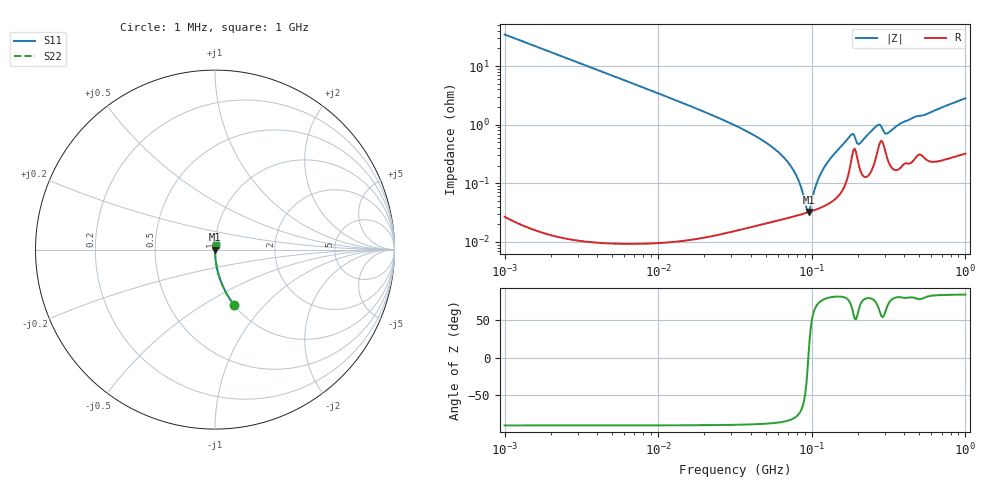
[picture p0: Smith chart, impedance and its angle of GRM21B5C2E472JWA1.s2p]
!Murata Part Number: GRM21B5C2E472JWA1
!These Parameters are Measured in Series Mode Connection
!Data Generated on Mar 30, 2021
!  o--ll--o
!Port1  Port2
!  o------o
!Operation Temp=25[degC], DC Bias Voltage=0[V]
!Freq. Start=1000[kHz] Stop=1000[MHz] 401[Steps]
# Hz S RI R 50
!Freq.(Hz) S11(Real) S11(Imag) S21(Real) S21(Imag) S12(Real) S12(Imag) S22(Real) S22(Imag)
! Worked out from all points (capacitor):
!   401 points, 1 MHz to 1 GHz, reference 50 ohm
!   read as one part in series: C = 4.59 nF near 1.035 MHz
!   lowest |Z| = 32.5 mohm at 95.5 MHz (marker M1)
!   series resonance near 94.95 MHz, so ESL is about 610 pH
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1000000  0.1077 -0.3096  0.8923 0.3096  0.8923 0.3096  0.1077 -0.3096
3180534  0.0118 -0.1077  0.9882 0.1077  0.9882 0.1077  0.0118 -0.1077
1.01158e7  0.00124 -0.0339  0.9988 0.0339  0.9988 0.0339  0.00124 -0.0339
3.162278e7  0.000247 -0.00972  0.9998 0.00972  0.9998 0.00972  0.000247 -0.00972
5.040806e7  0.000231 -0.00493  0.9998 0.00493  0.9998 0.00493  0.000231 -0.00493
6.76083e7  0.000256 -0.00253  0.9997 0.00253  0.9997 0.00253  0.000256 -0.00253
8.035261e7  0.000283 -0.00123  0.9997 0.00123  0.9997 0.00123  0.000283 -0.00123
8.462526e7  0.000293 -0.000849  0.9997 0.000849  0.9997 0.000849  0.000293 -0.000849
9.225714e7  0.000313 -0.000212  0.9997 0.000212  0.9997 0.000212  0.000313 -0.000212
9.549926e7  0.000322 4.31e-05  0.9997 -4.31e-05  0.9997 -4.31e-05  0.000322 4.31e-05
1.005773e8  0.000337 0.000429  0.9997 -0.000429  0.9997 -0.000429  0.000337 0.000429
1.077705e8  0.000361 0.000951  0.9996 -0.000951  0.9996 -0.000951  0.000361 0.000951
1.195364e8  0.000407 0.00176  0.9996 -0.00176  0.9996 -0.00176  0.000407 0.00176
1.778279e8  0.002 0.00615  0.998 -0.00615  0.998 -0.00615  0.002 0.00615
1.840772e8  0.0032 0.00618  0.9968 -0.00618  0.9968 -0.00618  0.0032 0.00618
2.041738e8  0.00188 0.00433  0.9981 -0.00433  0.9981 -0.00433  0.00188 0.00433
2.691535e8  0.00377 0.0091  0.9962 -0.0091  0.9962 -0.0091  0.00377 0.0091
3.037386e8  0.00324 0.00622  0.9968 -0.00622  0.9968 -0.00622  0.00324 0.00622
3.198895e8  0.0022 0.00716  0.9978 -0.00716  0.9978 -0.00716  0.0022 0.00716
3.801894e8  0.00197 0.0104  0.998 -0.0104  0.998 -0.0104  0.00197 0.0104
4.59727e8  0.00262 0.013  0.9974 -0.013  0.9974 -0.013  0.00262 0.013
1e9  0.00397 0.0278  0.996 -0.0278  0.996 -0.0278  0.00397 0.0278
